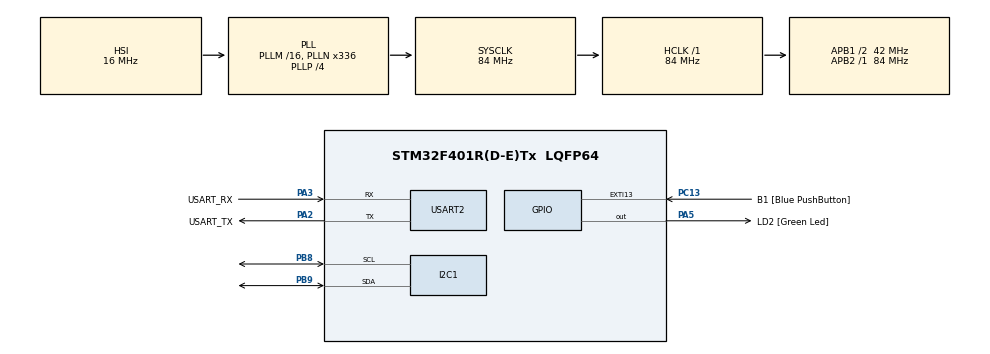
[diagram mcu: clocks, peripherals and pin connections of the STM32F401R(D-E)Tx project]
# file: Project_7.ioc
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Mcu.Family=STM32F4
Mcu.Name=STM32F401R(D-E)Tx
Mcu.Package=LQFP64
NVIC.PriorityGroup=NVIC_PRIORITYGROUP_0
PA13.GPIO_Label=TMS
PA13.Mode=Serial_Wire
PA13.Signal=SYS_JTMS-SWDIO
PA14.GPIO_Label=TCK
PA14.Mode=Serial_Wire
PA14.Signal=SYS_JTCK-SWCLK
PA2.GPIO_Label=USART_TX
PA2.GPIO_Mode=GPIO_MODE_AF_PP
PA2.GPIO_PuPd=GPIO_NOPULL
PA2.GPIO_Speed=GPIO_SPEED_FREQ_LOW
PA2.Mode=Asynchronous
PA2.Signal=USART2_TX
PA3.GPIO_Label=USART_RX
PA3.GPIO_Mode=GPIO_MODE_AF_PP
PA3.GPIO_PuPd=GPIO_NOPULL
PA3.GPIO_Speed=GPIO_SPEED_FREQ_LOW
PA3.Mode=Asynchronous
PA3.Signal=USART2_RX
PA5.GPIO_Label=LD2 [Green Led]
PA5.GPIO_Mode=GPIO_MODE_OUTPUT_PP
PA5.GPIO_PuPd=GPIO_NOPULL
PA5.GPIO_Speed=GPIO_SPEED_FREQ_LOW
PA5.Signal=GPIO_Output
PB3.GPIO_Label=SWO
PB3.Signal=SYS_JTDO-SWO
PB8.Mode=I2C
PB8.Signal=I2C1_SCL
PB9.Mode=I2C
PB9.Signal=I2C1_SDA
PC13-ANTI_TAMP.GPIO_Label=B1 [Blue PushButton]
PC13-ANTI_TAMP.GPIO_ModeDefaultEXTI=GPIO_MODE_IT_FALLING
PC13-ANTI_TAMP.GPIO_PuPd=GPIO_NOPULL
PC13-ANTI_TAMP.Signal=GPXTI13
PC14-OSC32_IN.Mode=LSE-External-Oscillator
PC14-OSC32_IN.Signal=RCC_OSC32_IN
PC15-OSC32_OUT.Mode=LSE-External-Oscillator
PC15-OSC32_OUT.Signal=RCC_OSC32_OUT
PH0\ -\ OSC_IN.Mode=HSE-External-Clock-Source
PH0\ -\ OSC_IN.Signal=RCC_OSC_IN
PH1\ -\ OSC_OUT.Mode=HSE-External-Clock-Source
PH1\ -\ OSC_OUT.Signal=RCC_OSC_OUT
ProjectManager.HeapSize=0x200
ProjectManager.StackSize=0x400
ProjectManager.TargetToolchain=STM32CubeIDE
RCC.48MHZClocksFreq_Value=48000000
RCC.AHBFreq_Value=84000000
RCC.APB1CLKDivider=RCC_HCLK_DIV2
RCC.APB1Freq_Value=42000000
RCC.APB1TimFreq_Value=84000000
RCC.APB2Freq_Value=84000000
RCC.APB2TimFreq_Value=84000000
RCC.CortexFreq_Value=84000000
RCC.HCLKFreq_Value=84000000
RCC.HSE_VALUE=8000000
RCC.HSI_VALUE=16000000
RCC.PLLN=336
RCC.PLLP=RCC_PLLP_DIV4
RCC.PLLQ=7
RCC.SYSCLKFreq_VALUE=84000000
RCC.SYSCLKSource=RCC_SYSCLKSOURCE_PLLCLK
RCC.VCOOutputFreq_Value=336000000
USART2.VirtualMode=VM_ASYNC
board=NUCLEO-F401RE

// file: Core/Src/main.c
/* USER CODE BEGIN Header */
/**
  ******************************************************************************
  * @file           : main.c
  * @brief          : Main program body
  ******************************************************************************
  * @attention
  *
  * <h2><center>&copy; Copyright (c) 2021 STMicroelectronics.
  * All rights reserved.</center></h2>
  *
  * This software component is licensed by ST under BSD 3-Clause license,
  * the "License"; You may not use this file except in compliance with the
  * License. You may obtain a copy of the License at:
  *                        opensource.org/licenses/BSD-3-Clause
  *
  ******************************************************************************
  */
/* USER CODE END Header */
#include "main.h"

/* USER CODE BEGIN Includes */
#include "stdio.h"
#include "string.h"
/* USER CODE END Includes */

I2C_HandleTypeDef hi2c1;

UART_HandleTypeDef huart2;

/* USER CODE BEGIN PV */
uint8_t ACCEL_ADDRESS = 0b01010000;
uint8_t CTRL_REG_1_ADD = 0x20;
uint8_t CTRL_REG_4_ADD = 0x23;
uint8_t OUT_X_REG_ADD = 0x29;
uint8_t OUT_Y_REG_ADD = 0x2B;
uint8_t OUT_Z_REG_ADD = 0x2D;
uint8_t CTRL_REG_1_VALUE = 0b00010111;
uint8_t CTRL_REG_4_VALUE = 0b00000000;
uint8_t OUT_X_REG_VALUE;
uint8_t OUT_Y_REG_VALUE;
uint8_t OUT_Z_REG_VALUE;
/* USER CODE END PV */

void SystemClock_Config(void);
static void MX_GPIO_Init(void);
static void MX_USART2_UART_Init(void);
static void MX_I2C1_Init(void);

int main(void)
{

  /* MCU Configuration--------------------------------------------------------*/

  /* Reset of all peripherals, Initializes the Flash interface and the Systick. */
  HAL_Init();

  /* Configure the system clock */
  SystemClock_Config();

  /* Initialize all configured peripherals */
  MX_GPIO_Init();
  MX_USART2_UART_Init();
  MX_I2C1_Init();
  /* USER CODE BEGIN 2 */
  uint8_t CTRL_REG_1[2];
  CTRL_REG_1[0] = CTRL_REG_1_ADD;
  CTRL_REG_1[1] = CTRL_REG_1_VALUE;
  HAL_I2C_Master_Transmit(&hi2c1, ACCEL_ADDRESS, &CTRL_REG_1, 2, 100);

  uint8_t CTRL_REG_4[2];
  CTRL_REG_4[0] = CTRL_REG_4_ADD;
  CTRL_REG_4[1] = CTRL_REG_4_VALUE;
  HAL_I2C_Master_Transmit(&hi2c1, ACCEL_ADDRESS, &CTRL_REG_4, 2, 100);

  /* USER CODE END 2 */

  /* Infinite loop */
  while (1)
  {

    /* USER CODE BEGIN 3 */
	  HAL_I2C_Master_Transmit(&hi2c1, ACCEL_ADDRESS, &OUT_X_REG_ADD, 1, 100);
	  HAL_I2C_Master_Receive(&hi2c1, ACCEL_ADDRESS+1, &OUT_X_REG_VALUE, 1, 100);
	  float acc_x = (int8_t) OUT_X_REG_VALUE;
	  acc_x = acc_x * 0.0156;

	  HAL_I2C_Master_Transmit(&hi2c1, ACCEL_ADDRESS, &OUT_Y_REG_ADD, 1, 100);
 	  HAL_I2C_Master_Receive(&hi2c1, ACCEL_ADDRESS+1, &OUT_Y_REG_VALUE, 1, 100);
  	  float acc_y = (int8_t) OUT_Y_REG_VALUE;
  	  acc_y = acc_y * 0.0156;

  	  HAL_I2C_Master_Transmit(&hi2c1, ACCEL_ADDRESS, &OUT_Z_REG_ADD, 1, 100);
	  HAL_I2C_Master_Receive(&hi2c1, ACCEL_ADDRESS+1, &OUT_Z_REG_VALUE, 1, 100);
	  float acc_z = (int8_t) OUT_Z_REG_VALUE;
	  acc_z = acc_z * 0.0156;

	  char str[50];
	  snprintf(str, sizeof(str), "X: %+.2f g\r\nY: %+.2f g\r\nZ: %+.2f g\r\n", acc_x, acc_y, acc_z);
	  HAL_UART_Transmit(&huart2, str, strlen(str), 100);
	  HAL_Delay(1000);

  }
  /* USER CODE END 3 */
}

void SystemClock_Config(void)
{
  RCC_OscInitTypeDef RCC_OscInitStruct = {0};
  RCC_ClkInitTypeDef RCC_ClkInitStruct = {0};

  /** Configure the main internal regulator output voltage
  */
  __HAL_RCC_PWR_CLK_ENABLE();
  __HAL_PWR_VOLTAGESCALING_CONFIG(PWR_REGULATOR_VOLTAGE_SCALE2);
  /** Initializes the RCC Oscillators according to the specified parameters
  * in the RCC_OscInitTypeDef structure.
  */
  RCC_OscInitStruct.OscillatorType = RCC_OSCILLATORTYPE_HSI;
  RCC_OscInitStruct.HSIState = RCC_HSI_ON;
  RCC_OscInitStruct.HSICalibrationValue = RCC_HSICALIBRATION_DEFAULT;
  RCC_OscInitStruct.PLL.PLLState = RCC_PLL_ON;
  RCC_OscInitStruct.PLL.PLLSource = RCC_PLLSOURCE_HSI;
  RCC_OscInitStruct.PLL.PLLM = 16;
  RCC_OscInitStruct.PLL.PLLN = 336;
  RCC_OscInitStruct.PLL.PLLP = RCC_PLLP_DIV4;
  RCC_OscInitStruct.PLL.PLLQ = 7;
  if (HAL_RCC_OscConfig(&RCC_OscInitStruct) != HAL_OK)
  {
    Error_Handler();
  }
  /** Initializes the CPU, AHB and APB buses clocks
  */
  RCC_ClkInitStruct.ClockType = RCC_CLOCKTYPE_HCLK|RCC_CLOCKTYPE_SYSCLK
                              |RCC_CLOCKTYPE_PCLK1|RCC_CLOCKTYPE_PCLK2;
  RCC_ClkInitStruct.SYSCLKSource = RCC_SYSCLKSOURCE_PLLCLK;
  RCC_ClkInitStruct.AHBCLKDivider = RCC_SYSCLK_DIV1;
  RCC_ClkInitStruct.APB1CLKDivider = RCC_HCLK_DIV2;
  RCC_ClkInitStruct.APB2CLKDivider = RCC_HCLK_DIV1;

  if (HAL_RCC_ClockConfig(&RCC_ClkInitStruct, FLASH_LATENCY_2) != HAL_OK)
  {
    Error_Handler();
  }
}

static void MX_I2C1_Init(void)
{

  hi2c1.Instance = I2C1;
  hi2c1.Init.ClockSpeed = 100000;
  hi2c1.Init.DutyCycle = I2C_DUTYCYCLE_2;
  hi2c1.Init.OwnAddress1 = 0;
  hi2c1.Init.AddressingMode = I2C_ADDRESSINGMODE_7BIT;
  hi2c1.Init.DualAddressMode = I2C_DUALADDRESS_DISABLE;
  hi2c1.Init.OwnAddress2 = 0;
  hi2c1.Init.GeneralCallMode = I2C_GENERALCALL_DISABLE;
  hi2c1.Init.NoStretchMode = I2C_NOSTRETCH_DISABLE;
  if (HAL_I2C_Init(&hi2c1) != HAL_OK)
  {
    Error_Handler();
  }

}

static void MX_USART2_UART_Init(void)
{

  huart2.Instance = USART2;
  huart2.Init.BaudRate = 115200;
  huart2.Init.WordLength = UART_WORDLENGTH_8B;
  huart2.Init.StopBits = UART_STOPBITS_1;
  huart2.Init.Parity = UART_PARITY_NONE;
  huart2.Init.Mode = UART_MODE_TX_RX;
  huart2.Init.HwFlowCtl = UART_HWCONTROL_NONE;
  huart2.Init.OverSampling = UART_OVERSAMPLING_16;
  if (HAL_UART_Init(&huart2) != HAL_OK)
  {
    Error_Handler();
  }

}

static void MX_GPIO_Init(void)
{
  GPIO_InitTypeDef GPIO_InitStruct = {0};

  /* GPIO Ports Clock Enable */
  __HAL_RCC_GPIOC_CLK_ENABLE();
  __HAL_RCC_GPIOH_CLK_ENABLE();
  __HAL_RCC_GPIOA_CLK_ENABLE();
  __HAL_RCC_GPIOB_CLK_ENABLE();

  /*Configure GPIO pin Output Level */
  HAL_GPIO_WritePin(LD2_GPIO_Port, LD2_Pin, GPIO_PIN_RESET);

  /*Configure GPIO pin : B1_Pin */
  GPIO_InitStruct.Pin = B1_Pin;
  GPIO_InitStruct.Mode = GPIO_MODE_IT_FALLING;
  GPIO_InitStruct.Pull = GPIO_NOPULL;
  HAL_GPIO_Init(B1_GPIO_Port, &GPIO_InitStruct);

  /*Configure GPIO pin : LD2_Pin */
  GPIO_InitStruct.Pin = LD2_Pin;
  GPIO_InitStruct.Mode = GPIO_MODE_OUTPUT_PP;
  GPIO_InitStruct.Pull = GPIO_NOPULL;
  GPIO_InitStruct.Speed = GPIO_SPEED_FREQ_LOW;
  HAL_GPIO_Init(LD2_GPIO_Port, &GPIO_InitStruct);

}

void Error_Handler(void)
{
}

/************************ (C) COPYRIGHT STMicroelectronics *****END OF FILE****/
